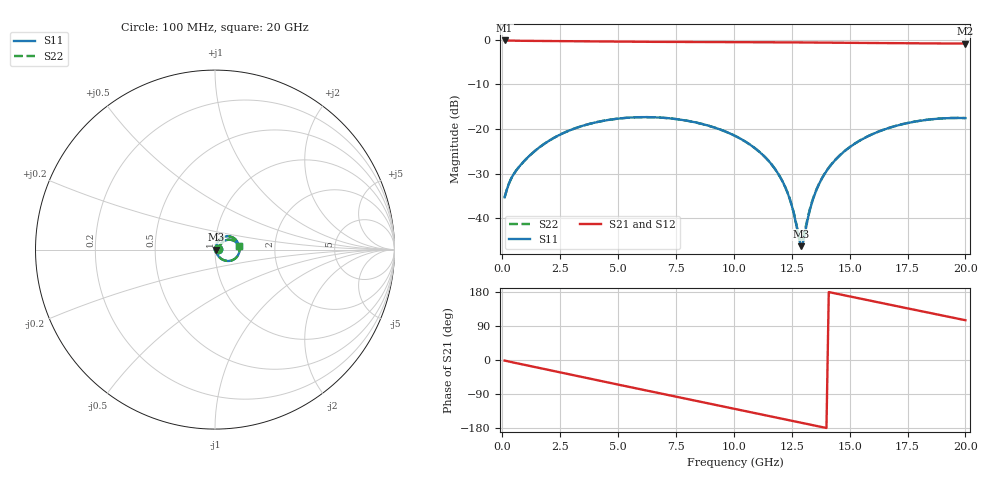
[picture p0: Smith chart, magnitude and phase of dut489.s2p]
! Touchstone file exported from HFSS 2026.1.0
!  File:  C:/ffzhzh/LocalFiles/Ansys_Project_Files/temp_train_TSV_RDL_489_1783105602_37876.aedt
!  Generated:  03:15:55 AM Jul  4, 2026
!  Design:  TSV_RDL
!  Project:  temp_train_TSV_RDL_489_1783105602_37876
! Variables:
!  h_bsmrdl = 3.79um
!  h_ox = 20um
!  h_rdl = 5um
!  h_sub = 72.96um
!  h_tmrdl = 3.54um
!  h_tsv = 72.96um
!  h_via = 3um
!  l_bsmrdl = 105.83um
!  l_sub = 4351.11um
!  l_tmrdl = 874.61um
!  m_sub = 200um
!  pitch = 35.22um
!  r_tsv = 11.33um
!  s_tmrdl = 10um
!  w_bsmrdl = 17.25um
!  w_sub = 500um
!  w_tmrdl = 27.81um
!  x_tsv_center1 = 888.515um
!  x_tsv_center2 = 1011.595um
!  x_tsv_center3 = 1914.015um
!  x_tsv_center4 = 2037.095um
!  x_tsv_center5 = 2939.515um
!  x_tsv_center6 = 3062.595um
# GHz S MA R 50.000000
! Terminal data exported
! Port[1] = TM_RDL1_1_T1
! Port[2] = TM_RDL5_1_T1
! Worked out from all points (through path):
!   200 points, 100 MHz to 20 GHz, reference 50 ohm
!   highest |S21| = -0.14 dB at 100 MHz (marker M1); lowest = -0.8 dB at 20 GHz (marker M2)
!   group delay of S21, straight-line fit = 35.4 ps
!   lowest |S11| = -46.2 dB at 12.9 GHz (marker M3), VSWR 1.01, Z = 50.5 - j0.0169 ohm
!   |S11| at or under -10 dB: start of sweep to end of sweep
!   |S22| runs from -45.4 to -17.3 dB; largest |S21 - S12| = 1.7e-14
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0.1  0.01721 19.8  0.9839 -1.5  0.9839 -1.5  0.01721 19.8
! Gamma 0 0 0 0
! Port Impedance 50 0 50 0
0.5  0.03151 38.6  0.9776 -6.9  0.9776 -6.9  0.03151 38.6
1.2  0.051 44.4  0.9736 -15.9  0.9736 -15.9  0.051 44.4
2.2  0.07897 40.9  0.969 -28.9  0.969 -28.9  0.07897 40.9
3.5  0.1095 28.9  0.9624 -45.7  0.9624 -45.7  0.1095 28.9
5.2  0.1327 9.8  0.9542 -67.4  0.9542 -67.4  0.1326 9.8
6.8  0.1347 -9.1  0.9486 -87.7  0.9486 -87.7  0.1347 -9.0
8.4  0.118 -28.0  0.945 -108.0  0.945 -108.0  0.1179 -27.9
10.1  0.08275 -47.7  0.9422 -129.6  0.9422 -129.6  0.0827 -47.5
11.2  0.05286 -59.2  0.9399 -143.7  0.9399 -143.7  0.05282 -58.8
12  0.02904 -64.7  0.9378 -153.9  0.9378 -153.9  0.02903 -63.8
12.5  0.01397 -60.1  0.9362 -160.3  0.9362 -160.3  0.01406 -58.1
12.9  0.00488 -2.0  0.9348 -165.4  0.9348 -165.4  0.005387 -0.2
13  0.005485 31.4  0.9344 -166.7  0.9344 -166.7  0.006001 29.9
13.2  0.01007 62.3  0.9337 -169.3  0.9337 -169.3  0.01044 60.0
13.4  0.01583 70.8  0.9329 -171.8  0.9329 -171.8  0.01611 69.0
13.9  0.03084 73.5  0.9308 -178.2  0.9308 -178.2  0.03105 72.4
14.6  0.05143 68.6  0.9278 172.9  0.9278 172.9  0.05162 67.9
15.5  0.07586 59.5  0.9236 161.5  0.9236 161.5  0.07604 58.9
16.7  0.1031 46.1  0.9182 146.4  0.9182 146.4  0.1033 45.6
18.4  0.1276 26.5  0.912 125.0  0.912 125.0  0.1278 26.1
20  0.1328 8.0  0.9085 105.0  0.9085 105.0  0.133 7.5
